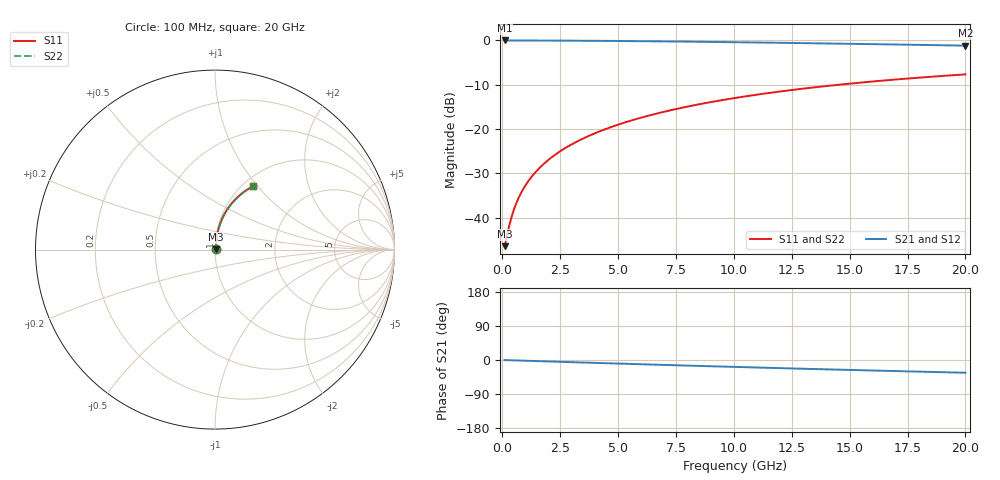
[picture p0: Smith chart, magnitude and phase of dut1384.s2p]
! Touchstone file exported from HFSS 2024.1.0
!  File:  C:/UserFiles/LocalFiles/RDL_TSV_Batchsim/temp_RDL_bottom_1384_1780371736.aedt
!  Generated:  11:45:06 AM Jun  2, 2026
!  Design:  RDL_bottom
!  Project:  temp_RDL_bottom_1384_1780371736
!  Setup:  Setup1
!  Solution:  Sweep
! Variables:
!  dtsv = 10.80580581um
!  hbump = 3um
!  htsv = 51.99um
!  ldown = 380.01um
!  lrdl = 100um
!  p = 40
!  p1 = 55.37um
!  rhole = 1um
!  t = 450um
!  tdown = 2.47um
!  trdl = 3.915915916um
!  wdown = 13.65um
!  wrdl = 20um
# GHz S MA R 50.000000
! Terminal data exported
! Port[1] = RDL1_T1
! Port[2] = RDL1_T2
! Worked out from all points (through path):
!   200 points, 100 MHz to 20 GHz, reference 50 ohm
!   highest |S21| = -0.04 dB at 100 MHz (marker M1); lowest = -1.2 dB at 20 GHz (marker M2)
!   group delay of S21, straight-line fit = 4.66 ps
!   lowest |S11| = -46.4 dB at 100 MHz (marker M3), VSWR 1.01, Z = 50.4 + j0.233 ohm
!   |S11| at or under -10 dB: start of sweep to 14.57 GHz
!   |S22| runs from -46.4 to -7.7 dB; largest |S21 - S12| = 6.1e-15
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0.1  0.004777 29.0  0.9958 -0.2  0.9958 -0.2  0.004777 29.0
! Gamma 0 0 0 0
! Port Impedance 50 0 50 0
0.3  0.008146 58.1  0.9957 -0.6  0.9957 -0.6  0.008146 58.1
0.4  0.01019 64.4  0.9956 -0.8  0.9956 -0.8  0.01019 64.4
0.5  0.01231 68.5  0.9955 -1.0  0.9955 -1.0  0.01231 68.5
0.6  0.01446 71.3  0.9953 -1.2  0.9953 -1.2  0.01446 71.3
0.7  0.01662 73.3  0.9952 -1.4  0.9952 -1.4  0.01662 73.3
0.9  0.02097 76.0  0.9949 -1.8  0.9949 -1.8  0.02097 76.0
1.2  0.0275 78.4  0.9944 -2.3  0.9944 -2.3  0.0275 78.4
1.4  0.03187 79.4  0.9941 -2.7  0.9941 -2.7  0.03187 79.4
1.7  0.03844 80.4  0.9935 -3.3  0.9935 -3.3  0.03844 80.4
2.2  0.04945 81.3  0.9924 -4.2  0.9924 -4.2  0.04945 81.3
2.8  0.06273 81.7  0.9908 -5.4  0.9908 -5.4  0.06273 81.7
3.5  0.07831 81.6  0.9885 -6.7  0.9885 -6.7  0.07831 81.6
4.2  0.09396 81.3  0.9858 -8.0  0.9858 -8.0  0.09396 81.2
5  0.1119 80.6  0.9823 -9.5  0.9823 -9.5  0.1119 80.6
5.9  0.1321 79.6  0.9778 -11.1  0.9778 -11.1  0.1321 79.6
6.8  0.1523 78.5  0.9728 -12.7  0.9728 -12.7  0.1523 78.4
8.4  0.1878 76.2  0.963 -15.5  0.963 -15.5  0.1878 76.2
10.1  0.2248 73.7  0.9514 -18.4  0.9514 -18.4  0.2248 73.7
13.4  0.2933 68.6  0.9264 -23.8  0.9264 -23.8  0.2933 68.6
16.7  0.3562 63.6  0.8992 -28.8  0.8992 -28.8  0.3562 63.6
20  0.4129 58.9  0.8707 -33.6  0.8707 -33.6  0.4129 58.8
